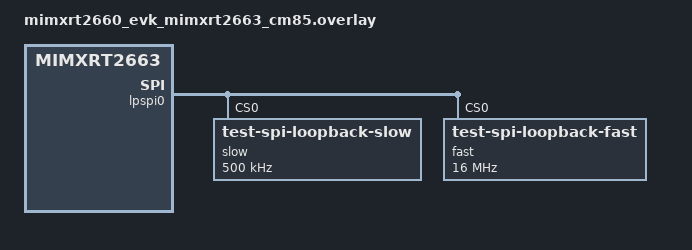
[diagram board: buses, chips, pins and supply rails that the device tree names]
/*
 * SPDX-FileCopyrightText: Copyright 2026 NXP
 *
 * SPDX-License-Identifier: Apache-2.0
 */

/* To test this sample, move J53 to 1-2 (routes PIO3_20..23 to LPSPI0 instead of
 * the LCD) and connect J56-5 (LPSPI0_SDO) <-> J56-6 (LPSPI0_SDI)
 */

&lpspi0 {
	slow@0 {
		compatible = "test-spi-loopback-slow";
		reg = <0>;
		spi-max-frequency = <500000>;
	};

	fast@0 {
		compatible = "test-spi-loopback-fast";
		reg = <0>;
		spi-max-frequency = <16000000>;
	};

	transfer-delay = <100>;
	pcs-sck-delay = <100>;
	sck-pcs-delay = <100>;
};
